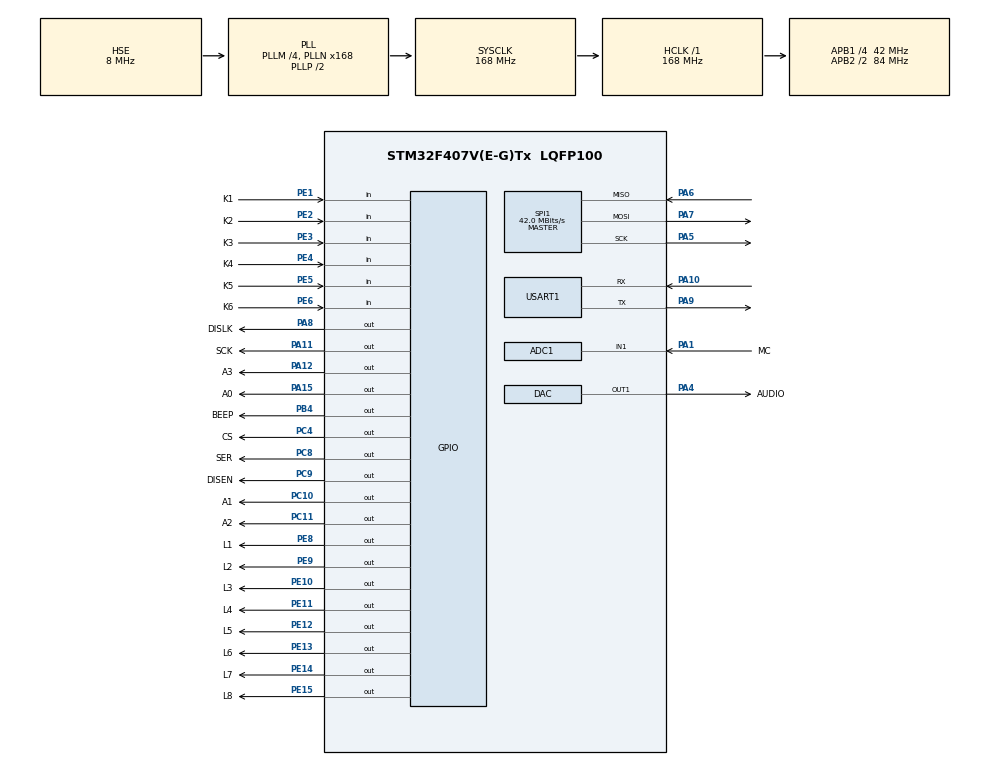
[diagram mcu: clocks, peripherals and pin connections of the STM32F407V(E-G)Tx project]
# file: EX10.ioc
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ADC1.Channel-0\#ChannelRegularConversion=ADC_CHANNEL_1
ADC1.ExternalTrigConv=ADC_EXTERNALTRIGCONV_T2_TRGO
ADC1.NbrOfConversionFlag=1
ADC1.Rank-0\#ChannelRegularConversion=1
ADC1.SamplingTime-0\#ChannelRegularConversion=ADC_SAMPLETIME_480CYCLES
ADC1.master=1
DAC.DAC_Trigger=DAC_TRIGGER_T2_TRGO
Dma.ADC1.1.Direction=DMA_PERIPH_TO_MEMORY
Dma.ADC1.1.FIFOMode=DMA_FIFOMODE_DISABLE
Dma.ADC1.1.Instance=DMA2_Stream0
Dma.ADC1.1.MemDataAlignment=DMA_MDATAALIGN_HALFWORD
Dma.ADC1.1.MemInc=DMA_MINC_ENABLE
Dma.ADC1.1.Mode=DMA_NORMAL
Dma.ADC1.1.PeriphDataAlignment=DMA_PDATAALIGN_HALFWORD
Dma.ADC1.1.PeriphInc=DMA_PINC_DISABLE
Dma.ADC1.1.Priority=DMA_PRIORITY_LOW
Dma.DAC1.2.Direction=DMA_MEMORY_TO_PERIPH
Dma.DAC1.2.FIFOMode=DMA_FIFOMODE_DISABLE
Dma.DAC1.2.Instance=DMA1_Stream5
Dma.DAC1.2.MemDataAlignment=DMA_MDATAALIGN_HALFWORD
Dma.DAC1.2.MemInc=DMA_MINC_ENABLE
Dma.DAC1.2.Mode=DMA_NORMAL
Dma.DAC1.2.PeriphDataAlignment=DMA_PDATAALIGN_HALFWORD
Dma.DAC1.2.PeriphInc=DMA_PINC_DISABLE
Dma.DAC1.2.Priority=DMA_PRIORITY_LOW
Dma.Request0=USART1_RX
Dma.Request1=ADC1
Dma.Request2=DAC1
Dma.USART1_RX.0.Direction=DMA_PERIPH_TO_MEMORY
Dma.USART1_RX.0.FIFOMode=DMA_FIFOMODE_DISABLE
Dma.USART1_RX.0.Instance=DMA2_Stream2
Dma.USART1_RX.0.MemDataAlignment=DMA_MDATAALIGN_BYTE
Dma.USART1_RX.0.MemInc=DMA_MINC_ENABLE
Dma.USART1_RX.0.Mode=DMA_NORMAL
Dma.USART1_RX.0.PeriphDataAlignment=DMA_PDATAALIGN_BYTE
Dma.USART1_RX.0.PeriphInc=DMA_PINC_DISABLE
Dma.USART1_RX.0.Priority=DMA_PRIORITY_LOW
FREERTOS.Tasks01=Task_LED,24,256,StartTaskLed,Default,NULL,Dynamic,NULL,NULL;Task_Usart,8,256,StartTaskUsart,Default,NULL,Dynamic,NULL,NULL;Task_Key,8,256,StartTaskKey,Default,NULL,Dynamic,NULL,NULL;Task_Seg,8,256,StartTaskSeg,Default,NULL,Dynamic,NULL,NULL
Mcu.Family=STM32F4
Mcu.Name=STM32F407V(E-G)Tx
Mcu.Package=LQFP100
NVIC.DMA1_Stream5_IRQn=true\:5\:0\:false\:false\:true\:true\:false\:true
NVIC.DMA2_Stream0_IRQn=true\:5\:0\:false\:false\:true\:true\:false\:true
NVIC.DMA2_Stream2_IRQn=true\:5\:0\:false\:false\:true\:true\:false\:true
NVIC.PriorityGroup=NVIC_PRIORITYGROUP_4
NVIC.TIM1_BRK_TIM9_IRQn=true\:0\:0\:false\:false\:true\:false\:false\:true
NVIC.TimeBase=TIM1_BRK_TIM9_IRQn
NVIC.TimeBaseIP=TIM9
NVIC.USART1_IRQn=true\:5\:0\:false\:false\:true\:true\:true\:true
PA1.GPIO_Label=MC
PA1.Signal=ADCx_IN1
PA10.Mode=Asynchronous
PA10.Signal=USART1_RX
PA11.GPIO_Label=SCK
PA11.Signal=GPIO_Output
PA12.GPIO_Label=A3
PA12.Signal=GPIO_Output
PA13.Mode=Serial_Wire
PA13.Signal=SYS_JTMS-SWDIO
PA14.Mode=Serial_Wire
PA14.Signal=SYS_JTCK-SWCLK
PA15.GPIO_Label=A0
PA15.Signal=GPIO_Output
PA4.GPIO_Label=AUDIO
PA4.Signal=COMP_DAC1_group
PA5.Mode=Full_Duplex_Master
PA5.Signal=SPI1_SCK
PA6.Mode=Full_Duplex_Master
PA6.Signal=SPI1_MISO
PA7.Mode=Full_Duplex_Master
PA7.Signal=SPI1_MOSI
PA8.GPIO_Label=DISLK
PA8.Signal=GPIO_Output
PA9.Mode=Asynchronous
PA9.Signal=USART1_TX
PB4.GPIO_Label=BEEP
PB4.Signal=GPIO_Output
PC10.GPIO_Label=A1
PC10.Signal=GPIO_Output
PC11.GPIO_Label=A2
PC11.Signal=GPIO_Output
PC4.GPIO_Label=CS
PC4.Signal=GPIO_Output
PC8.GPIO_Label=SER
PC8.Signal=GPIO_Output
PC9.GPIO_Label=DISEN
PC9.Signal=GPIO_Output
PE1.GPIO_Label=K1
PE1.GPIO_Mode=GPIO_MODE_INPUT
PE1.GPIO_PuPd=GPIO_PULLUP
PE1.Signal=GPIO_Input
PE10.GPIO_Label=L3
PE10.GPIO_ModeDefaultOutputPP=GPIO_MODE_OUTPUT_PP
PE10.GPIO_PuPd=GPIO_NOPULL
PE10.GPIO_Speed=GPIO_SPEED_FREQ_LOW
PE10.PinState=GPIO_PIN_SET
PE10.Signal=GPIO_Output
PE11.GPIO_Label=L4
PE11.GPIO_ModeDefaultOutputPP=GPIO_MODE_OUTPUT_PP
PE11.GPIO_PuPd=GPIO_NOPULL
PE11.GPIO_Speed=GPIO_SPEED_FREQ_LOW
PE11.PinState=GPIO_PIN_SET
PE11.Signal=GPIO_Output
PE12.GPIO_Label=L5
PE12.GPIO_ModeDefaultOutputPP=GPIO_MODE_OUTPUT_PP
PE12.GPIO_PuPd=GPIO_NOPULL
PE12.GPIO_Speed=GPIO_SPEED_FREQ_LOW
PE12.PinState=GPIO_PIN_SET
PE12.Signal=GPIO_Output
PE13.GPIO_Label=L6
PE13.GPIO_ModeDefaultOutputPP=GPIO_MODE_OUTPUT_PP
PE13.GPIO_PuPd=GPIO_NOPULL
PE13.GPIO_Speed=GPIO_SPEED_FREQ_LOW
PE13.PinState=GPIO_PIN_SET
PE13.Signal=GPIO_Output
PE14.GPIO_Label=L7
PE14.GPIO_ModeDefaultOutputPP=GPIO_MODE_OUTPUT_PP
PE14.GPIO_PuPd=GPIO_NOPULL
PE14.GPIO_Speed=GPIO_SPEED_FREQ_LOW
PE14.PinState=GPIO_PIN_SET
PE14.Signal=GPIO_Output
PE15.GPIO_Label=L8
PE15.GPIO_ModeDefaultOutputPP=GPIO_MODE_OUTPUT_PP
PE15.GPIO_PuPd=GPIO_NOPULL
PE15.GPIO_Speed=GPIO_SPEED_FREQ_LOW
PE15.PinState=GPIO_PIN_SET
PE15.Signal=GPIO_Output
PE2.GPIO_Label=K2
PE2.GPIO_Mode=GPIO_MODE_INPUT
PE2.GPIO_PuPd=GPIO_PULLUP
PE2.Signal=GPIO_Input
PE3.GPIO_Label=K3
PE3.GPIO_Mode=GPIO_MODE_INPUT
PE3.GPIO_PuPd=GPIO_PULLUP
PE3.Signal=GPIO_Input
PE4.GPIO_Label=K4
PE4.GPIO_Mode=GPIO_MODE_INPUT
PE4.GPIO_PuPd=GPIO_PULLUP
PE4.Signal=GPIO_Input
PE5.GPIO_Label=K5
PE5.GPIO_Mode=GPIO_MODE_INPUT
PE5.GPIO_PuPd=GPIO_PULLDOWN
PE5.Signal=GPIO_Input
PE6.GPIO_Label=K6
PE6.GPIO_Mode=GPIO_MODE_INPUT
PE6.GPIO_PuPd=GPIO_PULLDOWN
PE6.Signal=GPIO_Input
PE8.GPIO_Label=L1
PE8.GPIO_ModeDefaultOutputPP=GPIO_MODE_OUTPUT_PP
PE8.GPIO_PuPd=GPIO_NOPULL
PE8.GPIO_Speed=GPIO_SPEED_FREQ_LOW
PE8.PinState=GPIO_PIN_SET
PE8.Signal=GPIO_Output
PE9.GPIO_Label=L2
PE9.GPIO_ModeDefaultOutputPP=GPIO_MODE_OUTPUT_PP
PE9.GPIO_PuPd=GPIO_NOPULL
PE9.GPIO_Speed=GPIO_SPEED_FREQ_LOW
PE9.PinState=GPIO_PIN_SET
PE9.Signal=GPIO_Output
PH0-OSC_IN.Mode=HSE-External-Oscillator
PH0-OSC_IN.Signal=RCC_OSC_IN
PH1-OSC_OUT.Mode=HSE-External-Oscillator
PH1-OSC_OUT.Signal=RCC_OSC_OUT
ProjectManager.HeapSize=0x200
ProjectManager.StackSize=0x400
ProjectManager.TargetToolchain=MDK-ARM V5.27
RCC.48MHZClocksFreq_Value=84000000
RCC.AHBFreq_Value=168000000
RCC.APB1CLKDivider=RCC_HCLK_DIV4
RCC.APB1Freq_Value=42000000
RCC.APB1TimFreq_Value=84000000
RCC.APB2CLKDivider=RCC_HCLK_DIV2
RCC.APB2Freq_Value=84000000
RCC.APB2TimFreq_Value=168000000
RCC.CortexFreq_Value=168000000
RCC.HCLKFreq_Value=168000000
RCC.HSE_VALUE=8000000
RCC.HSI_VALUE=16000000
RCC.LSE_VALUE=32768
RCC.PLLM=4
RCC.PLLN=168
RCC.PLLSourceVirtual=RCC_PLLSOURCE_HSE
RCC.SYSCLKFreq_VALUE=168000000
RCC.SYSCLKSource=RCC_SYSCLKSOURCE_PLLCLK
RCC.VCOOutputFreq_Value=336000000
SH.ADCx_IN1.0=ADC1_IN1,IN1
SH.COMP_DAC1_group.0=DAC_OUT1,DAC_OUT1
SPI1.CalculateBaudRate=42.0 MBits/s
SPI1.Direction=SPI_DIRECTION_2LINES
SPI1.Mode=SPI_MODE_MASTER
SPI1.VirtualType=VM_MASTER
TIM2.Period=125-1
TIM2.Prescaler=84-1
TIM2.TIM_MasterOutputTrigger=TIM_TRGO_UPDATE
USART1.VirtualMode=VM_ASYNC
VP_FREERTOS_VS_CMSIS_V2.Mode=CMSIS_V2
VP_SYS_VS_tim9.Mode=TIM9
VP_TIM2_VS_ClockSourceINT.Mode=Internal
board=custom

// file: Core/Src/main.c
/* USER CODE BEGIN Header */
/**
  ******************************************************************************
  * @file           : main.c
  * @brief          : Main program body
  ******************************************************************************
  * @attention
  *
  * <h2><center>&copy; Copyright (c) 2021 STMicroelectronics.
  * All rights reserved.</center></h2>
  *
  * This software component is licensed by ST under Ultimate Liberty license
  * SLA0044, the "License"; You may not use this file except in compliance with
  * the License. You may obtain a copy of the License at:
  *                             www.st.com/SLA0044
  *
  ******************************************************************************
  */
/* USER CODE END Header */
#include "main.h"
#include "cmsis_os.h"
#include "adc.h"
#include "dac.h"
#include "dma.h"
#include "spi.h"
#include "tim.h"
#include "usart.h"
#include "gpio.h"

/* USER CODE BEGIN Includes */
#include "stdio.h"

/* USER CODE END Includes */

void SystemClock_Config(void);
void MX_FREERTOS_Init(void);

int main(void)
{

  /* MCU Configuration--------------------------------------------------------*/

  /* Reset of all peripherals, Initializes the Flash interface and the Systick. */
  HAL_Init();

  /* Configure the system clock */
  SystemClock_Config();

  /* Initialize all configured peripherals */
  MX_GPIO_Init();
  MX_DMA_Init();
  MX_USART1_UART_Init();
  MX_ADC1_Init();
  MX_DAC_Init();
  MX_TIM2_Init();
  MX_SPI1_Init();
  /* USER CODE BEGIN 2 */
	HAL_Delay(200);
	printf("EX10 ����¼�������...\r\n");

  /* USER CODE END 2 */

  /* Init scheduler */
  osKernelInitialize();  /* Call init function for freertos objects (in freertos.c) */
  MX_FREERTOS_Init();
  /* Start scheduler */
  osKernelStart();

  /* We should never get here as control is now taken by the scheduler */
  /* Infinite loop */
  while (1)
  {

  }
}

void SystemClock_Config(void)
{
  RCC_OscInitTypeDef RCC_OscInitStruct = {0};
  RCC_ClkInitTypeDef RCC_ClkInitStruct = {0};

  /** Configure the main internal regulator output voltage
  */
  __HAL_RCC_PWR_CLK_ENABLE();
  __HAL_PWR_VOLTAGESCALING_CONFIG(PWR_REGULATOR_VOLTAGE_SCALE1);
  /** Initializes the RCC Oscillators according to the specified parameters
  * in the RCC_OscInitTypeDef structure.
  */
  RCC_OscInitStruct.OscillatorType = RCC_OSCILLATORTYPE_HSE;
  RCC_OscInitStruct.HSEState = RCC_HSE_ON;
  RCC_OscInitStruct.PLL.PLLState = RCC_PLL_ON;
  RCC_OscInitStruct.PLL.PLLSource = RCC_PLLSOURCE_HSE;
  RCC_OscInitStruct.PLL.PLLM = 4;
  RCC_OscInitStruct.PLL.PLLN = 168;
  RCC_OscInitStruct.PLL.PLLP = RCC_PLLP_DIV2;
  RCC_OscInitStruct.PLL.PLLQ = 4;
  if (HAL_RCC_OscConfig(&RCC_OscInitStruct) != HAL_OK)
  {
    Error_Handler();
  }
  /** Initializes the CPU, AHB and APB buses clocks
  */
  RCC_ClkInitStruct.ClockType = RCC_CLOCKTYPE_HCLK|RCC_CLOCKTYPE_SYSCLK
                              |RCC_CLOCKTYPE_PCLK1|RCC_CLOCKTYPE_PCLK2;
  RCC_ClkInitStruct.SYSCLKSource = RCC_SYSCLKSOURCE_PLLCLK;
  RCC_ClkInitStruct.AHBCLKDivider = RCC_SYSCLK_DIV1;
  RCC_ClkInitStruct.APB1CLKDivider = RCC_HCLK_DIV4;
  RCC_ClkInitStruct.APB2CLKDivider = RCC_HCLK_DIV2;

  if (HAL_RCC_ClockConfig(&RCC_ClkInitStruct, FLASH_LATENCY_5) != HAL_OK)
  {
    Error_Handler();
  }
}

void HAL_TIM_PeriodElapsedCallback(TIM_HandleTypeDef *htim)
{
  if (htim->Instance == TIM9) {
    HAL_IncTick();
  }
}

void Error_Handler(void)
{
  __disable_irq();
  while (1)
  {
  }
}

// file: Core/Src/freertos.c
/* USER CODE BEGIN Header */
/**
  ******************************************************************************
  * File Name          : freertos.c
  * Description        : Code for freertos applications
  ******************************************************************************
  * @attention
  *
  * <h2><center>&copy; Copyright (c) 2021 STMicroelectronics.
  * All rights reserved.</center></h2>
  *
  * This software component is licensed by ST under Ultimate Liberty license
  * SLA0044, the "License"; You may not use this file except in compliance with
  * the License. You may obtain a copy of the License at:
  *                             www.st.com/SLA0044
  *
  ******************************************************************************
  */
/* USER CODE END Header */

#include "FreeRTOS.h"
#include "task.h"
#include "main.h"
#include "cmsis_os.h"

/* USER CODE BEGIN Includes */
#include "gpio.h"
#include "usart.h "
#include "adc.h"
#include "dac.h"
#include "tim.h"
#include "w25qxx.h"

#include "stdio.h "
#include "string.h"
/* USER CODE END Includes */

/* USER CODE BEGIN Variables */
uint8_t recv_ok = 0;

uint8_t led_run = 1;
uint8_t led_sp = 5;
uint8_t seg[4] = {0};

#define MAX_RECV_LEN 128
uint8_t rx1_buff[MAX_RECV_LEN] = {0};
uint8_t *pBuf;
uint8_t line_flag = 0;
uint32_t recv_tick = 0;

#define MAX_DMA_BUFF_SIZE		40000
uint16_t dma_buff1[MAX_DMA_BUFF_SIZE];    //5秒40k个采样数据
uint8_t run = 1;

uint16_t count_sec = 0;
uint16_t count_min = 0;
/* USER CODE END Variables */
/* Definitions for Task_LED */
osThreadId_t Task_LEDHandle;
const osThreadAttr_t Task_LED_attributes = {
  .name = "Task_LED",
  .stack_size = 256 * 4,
  .priority = (osPriority_t) osPriorityNormal,
};
/* Definitions for Task_Usart */
osThreadId_t Task_UsartHandle;
const osThreadAttr_t Task_Usart_attributes = {
  .name = "Task_Usart",
  .stack_size = 256 * 4,
  .priority = (osPriority_t) osPriorityLow,
};
/* Definitions for Task_Key */
osThreadId_t Task_KeyHandle;
const osThreadAttr_t Task_Key_attributes = {
  .name = "Task_Key",
  .stack_size = 256 * 4,
  .priority = (osPriority_t) osPriorityLow,
};
/* Definitions for Task_Seg */
osThreadId_t Task_SegHandle;
const osThreadAttr_t Task_Seg_attributes = {
  .name = "Task_Seg",
  .stack_size = 256 * 4,
  .priority = (osPriority_t) osPriorityLow,
};

void StartTaskLed(void *argument);
void StartTaskUsart(void *argument);
void StartTaskKey(void *argument);
void StartTaskSeg(void *argument);

void MX_FREERTOS_Init(void); /* (MISRA C 2004 rule 8.1) */

void MX_FREERTOS_Init(void) {

  /* Create the thread(s) */
  /* creation of Task_LED */
  Task_LEDHandle = osThreadNew(StartTaskLed, NULL, &Task_LED_attributes);

  /* creation of Task_Usart */
  Task_UsartHandle = osThreadNew(StartTaskUsart, NULL, &Task_Usart_attributes);

  /* creation of Task_Key */
  Task_KeyHandle = osThreadNew(StartTaskKey, NULL, &Task_Key_attributes);

  /* creation of Task_Seg */
  Task_SegHandle = osThreadNew(StartTaskSeg, NULL, &Task_Seg_attributes);

}

void StartTaskLed(void *argument)
{
  /* USER CODE BEGIN StartTaskLed */
  /* Infinite loop */
	uint8_t led_sta = 0x01;
	SetLeds(led_sta);            //蓝牙调试助手(大作业)
  for(;;)
  {

		if(led_run)
		{
			if(led_sta < 0x80)
				led_sta <<= 1;
			else
				led_sta = 0x01;
			SetLeds(led_sta);
		}

		if(recv_ok)
		{
			recv_ok = 0;
			W25QXX_Write((uint8_t *)dma_buff1,0,sizeof(dma_buff1));
		}

    osDelay(100 * (10-led_sp));

  }
  /* USER CODE END StartTaskLed */
}

void StartTaskUsart(void *argument)
{
  /* USER CODE BEGIN StartTaskUsart */
  /* Infinite loop */
//	printf("Hello world!\n");
	pBuf = rx1_buff;
	HAL_UART_Receive_IT(&huart1, pBuf, 1);
  for(;;)
  {
		if(line_flag)
		{

			char *pb = (char *)rx1_buff;
			if(strstr(pb, "STOP") == pb)
			{
				led_run = 0;
				printf("OK\n\r");
			}

			else if(strstr(pb, "START") == pb)
			{
				led_run = 1;
				printf("OK\n\r");
			}

			else if(strstr(pb, "SP") == pb)
			{
				if(pb[2] >= '1' && pb[2] <= '9')
				{
					led_sp = pb[2] - '0';
					printf("OK\n\r");
				}
			}
			else
			{
				int i;
				int bok = 1;
				int dat[4];
				for(i=0;i<strlen(pb) && i < 4;++i)
				{
					if(pb[i] >= '0' && pb[i] <= '9')
					{
						dat[i] = pb[i] - '0';
					}
					else if(pb[i] >= 'A' && pb[i] <= 'F')
					{
						dat[i] = 10 + pb[i] - 'A';
					}
					else if(pb[i] == '\n' || pb[i] == '\r')
						break;
					else
						bok = 0;
				}
				if(bok)
				{
					int k = 0;
					for (int j = 4-i;j<4;++j)
						seg[j] = dat[k++];
				}
				else if(bok == 0)
			    printf("%s",rx1_buff);
			}

			line_flag = 0;

		}
    osDelay(1);
  }
  /* USER CODE END StartTaskUsart */
}

void StartTaskKey(void *argument)
{
  /* USER CODE BEGIN StartTaskKey */
  /* Infinite loop */
	uint8_t key;
  for(;;)
  {
		key = KeyScan();
		switch (key)
		{
			case KEY1:
				printf("打印录音数据到串口...\r\n");
				W25QXX_Read((uint8_t *)dma_buff1,0,sizeof(dma_buff1));
				for(uint32_t i=0;i<40000;i++)
				{
					osDelay(1);
					printf("%d ",dma_buff1[i]);
				}
				printf("\r\n\r\n");
				printf("打印结束！\r\n");

				osDelay(200);
				break;
			case KEY2:
				run = !run;

				if(run)
					HAL_TIM_Base_Start(&htim2);
				else
					HAL_TIM_Base_Stop(&htim2);
				osDelay(200);

				break;
			case KEY3:
				printf("重新放音...\r\n");
				HAL_TIM_Base_Stop(&htim2);
				HAL_DAC_Stop_DMA(&hdac,DAC_CHANNEL_1);

			  W25QXX_Read((uint8_t *)dma_buff1,0,sizeof(dma_buff1));
				HAL_DAC_Start_DMA(&hdac,DAC_CHANNEL_1,(uint32_t *)dma_buff1,MAX_DMA_BUFF_SIZE,DAC_ALIGN_12B_R);
				HAL_TIM_Base_Start(&htim2);

				osDelay(200);

				break;
			case KEY4:

				break;
			case KEY5:
				printf("开始录音...\r\n");
				HAL_ADC_Start_DMA(&hadc1,(uint32_t *)dma_buff1,MAX_DMA_BUFF_SIZE);
				HAL_TIM_Base_Start(&htim2);

				osDelay(200);

				break;
			case KEY6:
				printf("开始放音...\r\n");
				W25QXX_Read((uint8_t *)dma_buff1,0,sizeof(dma_buff1));
				HAL_DAC_Start_DMA(&hdac,DAC_CHANNEL_1,(uint32_t *)dma_buff1,MAX_DMA_BUFF_SIZE,DAC_ALIGN_12B_R);
				HAL_TIM_Base_Start(&htim2);

				osDelay(200);
				break;
			default:
				break;
		}
    osDelay(1);
  }
  /* USER CODE END StartTaskKey */
}

void StartTaskSeg(void *argument)
{
  /* USER CODE BEGIN StartTaskSeg */
  /* Infinite loop */
  for(;;)
  {
		for(int i=0; i<4; ++i)
		{
			if(i==1)
				Write595(i,seg[i],1);
			else
				Write595(i,seg[i],0);
			osDelay(5);
		}
    osDelay(1);
  }
  /* USER CODE END StartTaskSeg */
}

/* USER CODE BEGIN Application */
void HAL_UART_RxCpltCallback(UART_HandleTypeDef *UartHandle)
{
	if(UartHandle->Instance == USART1)
	{
		++ pBuf;
		if(pBuf == rx1_buff + MAX_RECV_LEN)
			pBuf = rx1_buff;

		else if(*(pBuf - 1) == '\n')
		{
			line_flag = 1;
			*pBuf = '\0';
			pBuf = rx1_buff;
		}

		__HAL_UNLOCK(UartHandle);
		HAL_UART_Receive_IT(UartHandle, pBuf, 1);
	}
}

void HAL_ADC_ConvCpltCallback(ADC_HandleTypeDef *hadc)
{

	if(hadc == &hadc1)
	{
		HAL_TIM_Base_Stop(&htim2);
		HAL_ADC_Stop_DMA(&hadc1);

		printf("录音结束！\r\n");
		recv_ok = 1;

	}
}

void HAL_DAC_ConvCpltCallbackCh1(DAC_HandleTypeDef* hadc)
{
	HAL_TIM_Base_Stop(&htim2);
	HAL_DAC_Stop_DMA(hadc,DAC_CHANNEL_1);

	printf("放音结束！\r\n");

}
/* USER CODE END Application */
